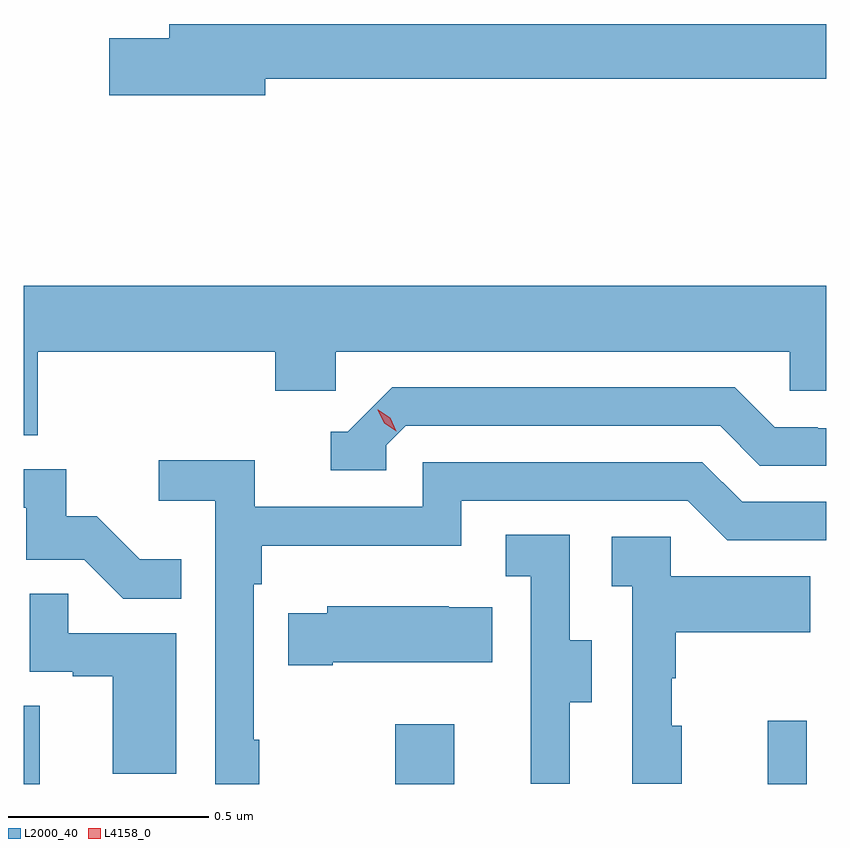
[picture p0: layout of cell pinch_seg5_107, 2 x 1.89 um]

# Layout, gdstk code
import gdstk
lib = gdstk.Library(unit=1e-6, precision=1e-09)
def R(c, l, rs):  # rectangles x0, y0, x1, y1
    for r in rs: c.add(gdstk.rectangle(r[:2], r[2:], *l))
def P(c, l, *ps):  # polygons
    for p in ps: c.add(gdstk.Polygon(p, *l))
L2000_40 = (2000, 40)
L4158_0 = (4158, 0)

pinch_seg5_107 = lib.new_cell('pinch_seg5_107')
R(pinch_seg5_107, L2000_40, [(1024.484,888.983,1024.525,889.178), (1025.41,888.983,1025.557,889.132), (1026.338,888.983,1026.435,889.141)])
P(pinch_seg5_107, L2000_40, [(1025.086,890.74),(1026.484,890.74),(1026.484,890.876),(1024.847,890.876),(1024.847,890.84),(1024.698,890.84),(1024.698,890.698),(1025.086,890.698)],
  [(1024.52,890.06),(1025.111,890.06),(1025.111,889.962),(1025.262,889.962),(1025.262,890.06),(1026.393,890.06),(1026.393,889.962),(1026.484,889.962),(1026.484,890.224),(1024.484,890.224),(1024.484,889.852),(1024.52,889.852)],
  [(1025.388,889.827),(1025.436,889.875),(1026.219,889.875),(1026.318,889.776),(1026.484,889.776),(1026.484,889.869),(1026.462,889.869),(1026.462,889.872),(1026.355,889.872),(1026.256,889.971),(1025.403,889.971),(1025.292,889.86),(1025.249,889.86),(1025.249,889.764),(1025.388,889.764)],
  [(1025.071,889.093),(1025.058,889.093),(1025.058,889.481),(1025.078,889.481),(1025.078,889.577),(1025.574,889.577),(1025.574,889.689),(1026.138,889.689),(1026.237,889.59),(1026.484,889.59),(1026.484,889.686),(1026.274,889.686),(1026.175,889.785),(1025.478,889.785),(1025.478,889.674),(1025.06,889.674),(1025.06,889.79),(1024.821,889.79),(1024.821,889.688),(1024.962,889.688),(1024.962,888.983),(1025.071,888.983)],
  [(1024.877,889.543),(1024.773,889.543),(1024.666,889.65),(1024.59,889.65),(1024.59,889.767),(1024.484,889.767),(1024.484,889.671),(1024.491,889.671),(1024.491,889.542),(1024.635,889.542),(1024.733,889.444),(1024.877,889.444)],
  [(1025.845,889.186),(1025.899,889.186),(1025.899,889.341),(1025.844,889.341),(1025.844,889.604),(1025.685,889.604),(1025.685,889.501),(1025.748,889.501),(1025.748,889.197),(1025.747,889.197),(1025.747,888.984),(1025.845,888.984)],
  [(1026.124,889.128),(1026.099,889.128),(1026.099,889.247),(1026.109,889.247),(1026.109,889.361),(1026.443,889.361),(1026.443,889.501),(1026.096,889.501),(1026.096,889.599),(1025.949,889.599),(1025.949,889.475),(1026,889.475),(1026,888.984),(1026.124,888.984)],
  [(1024.864,889.359),(1024.595,889.359),(1024.595,889.457),(1024.5,889.457),(1024.5,889.263),(1024.607,889.263),(1024.607,889.251),(1024.706,889.251),(1024.706,889.008),(1024.864,889.008)],
  [(1025.254,889.286),(1025.651,889.286),(1025.651,889.423),(1025.543,889.423),(1025.543,889.426),(1025.241,889.426),(1025.241,889.408),(1025.143,889.408),(1025.143,889.279),(1025.254,889.279)])
P(pinch_seg5_107, L4158_0, [(1025.413,889.862),(1025.382,889.882),(1025.366,889.914),(1025.366,889.915),(1025.367,889.915),(1025.397,889.895),(1025.413,889.862),(1025.413,889.862)])

lib.write_gds('pinch_seg5_107.gds')
